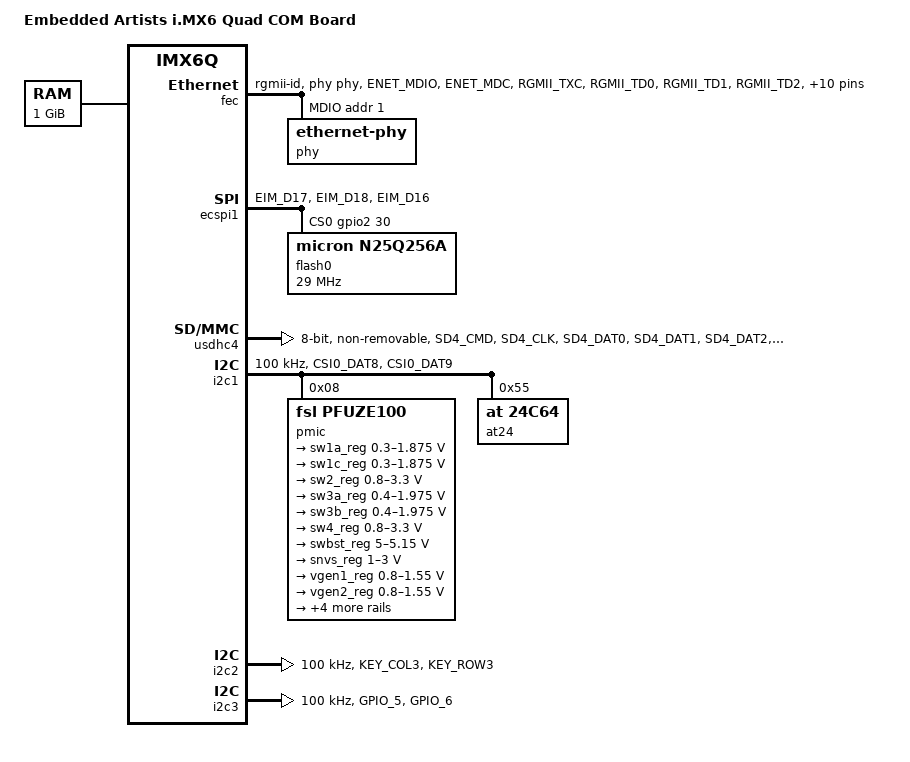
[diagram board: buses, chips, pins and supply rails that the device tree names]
/*
 * Copyright (C) 2014-2015 Freescale Semiconductor, Inc.
 *
 * This program is free software; you can redistribute it and/or modify
 * it under the terms of the GNU General Public License version 2 as
 * published by the Free Software Foundation.
 */


#include <dt-bindings/input/input.h>
#include <dt-bindings/gpio/gpio.h>
#include "imx6q.dtsi"


/ {
	model = "Embedded Artists i.MX6 Quad COM Board";
	compatible = "fsl,imx6qea-com", "fsl,imx6q";


	memory {
		reg = <0x10000000 0x40000000>;
	};


};

&reg_arm {
       vin-supply = <&sw1a_reg>;
};

&reg_pu {
       vin-supply = <&sw1c_reg>;
};

&reg_soc {
       vin-supply = <&sw1c_reg>;
};

&gpc {
	/* use ldo-bypass, u-boot will check it and configure */
	fsl,ldo-bypass = <1>;
	fsl,wdog-reset = <1>;
};


&fec {
	pinctrl-names = "default";
	pinctrl-0 = <&pinctrl_enet>;
	phy-mode = "rgmii-id";
	phy-reset-gpios = <&gpio1 25 GPIO_ACTIVE_HIGH>;
	phy-handle = <&phy>;
	fsl,magic-packet;
	status = "okay";

	mdio {
		#address-cells = <1>;
		#size-cells = <0>;

		phy: ethernet-phy@1 {
			reg = <1>;
			qca,clk-out-frequency = <125000000>;
		};
	};
};

&ecspi1 {
	fsl,spi-num-chipselects = <1>;
	cs-gpios = <&gpio2 30 GPIO_ACTIVE_HIGH>;
	pinctrl-names = "default";
	pinctrl-0 = <&pinctrl_ecspi1>;
	status = "okay";

	flash0: n25q256a@0 {
		#address-cells = <1>;
		#size-cells = <1>;
		compatible = "micron,n25q256a";
		spi-max-frequency = <29000000>;
		spi-nor,ddr-quad-read-dummy = <6>;
		reg = <0>;
	};

};


/* For eMMC socket on EA COM Board */
&usdhc4 {
	pinctrl-names = "default";
	pinctrl-0 = <&pinctrl_usdhc4>;
	bus-width = <8>;
	non-removable;
	no-1-8-v;
	keep-power-in-suspend;
	status = "okay";
};

&i2c1 {
	clock-frequency = <100000>;
	pinctrl-names = "default";
	pinctrl-0 = <&pinctrl_i2c1>;
	status = "okay";

	pmic: pfuze100@8 {
		compatible = "fsl,pfuze100";
		reg = <0x8>;

		regulators {
			sw1a_reg: sw1ab {
				regulator-min-microvolt = <300000>;
				regulator-max-microvolt = <1875000>;
				regulator-boot-on;
				regulator-always-on;
				regulator-ramp-delay = <6250>;
			};

			sw1c_reg: sw1c {
				regulator-min-microvolt = <300000>;
				regulator-max-microvolt = <1875000>;
				regulator-boot-on;
				regulator-always-on;
				regulator-ramp-delay = <6250>;
			};

			sw2_reg: sw2 {
				regulator-min-microvolt = <800000>;
				regulator-max-microvolt = <3300000>;
				regulator-boot-on;
				regulator-always-on;
			};

			sw3a_reg: sw3a {
				regulator-min-microvolt = <400000>;
				regulator-max-microvolt = <1975000>;
				regulator-boot-on;
				regulator-always-on;
			};

			sw3b_reg: sw3b {
				regulator-min-microvolt = <400000>;
				regulator-max-microvolt = <1975000>;
				regulator-boot-on;
				regulator-always-on;
			};

			sw4_reg: sw4 {
				regulator-min-microvolt = <800000>;
				regulator-max-microvolt = <3300000>;
			};

			swbst_reg: swbst {
				regulator-min-microvolt = <5000000>;
				regulator-max-microvolt = <5150000>;
			};

			snvs_reg: vsnvs {
				regulator-min-microvolt = <1000000>;
				regulator-max-microvolt = <3000000>;
				regulator-boot-on;
				regulator-always-on;
			};

			vref_reg: vrefddr {
				regulator-boot-on;
				regulator-always-on;
			};

			vgen1_reg: vgen1 {
				regulator-min-microvolt = <800000>;
				regulator-max-microvolt = <1550000>;
			};

			vgen2_reg: vgen2 {
				regulator-min-microvolt = <800000>;
				regulator-max-microvolt = <1550000>;
			};

			vgen3_reg: vgen3 {
				regulator-min-microvolt = <1800000>;
				regulator-max-microvolt = <3300000>;
			};

			vgen4_reg: vgen4 {
				regulator-min-microvolt = <1800000>;
				regulator-max-microvolt = <3300000>;
				regulator-always-on;
			};

			vgen5_reg: vgen5 {
				regulator-min-microvolt = <1800000>;
				regulator-max-microvolt = <3300000>;
				regulator-always-on;
			};

			vgen6_reg: vgen6 {
				regulator-min-microvolt = <1800000>;
				regulator-max-microvolt = <3300000>;
				regulator-always-on;
			};
		};
	};


	at24@55 {
		compatible = "at,24c64";
		pagesize = <32>;
		reg = <0x55>;
	};
};


&i2c2 {
	clock-frequency = <100000>;
	pinctrl-names = "default";
	pinctrl-0 = <&pinctrl_i2c2>;
	status = "okay";

};

&i2c3 {
	clock-frequency = <100000>;
	pinctrl-names = "default";
	pinctrl-0 = <&pinctrl_i2c3>;
	status = "okay";
};

&iomuxc {
	pinctrl-names = "default";
	pinctrl-0 = <&pinctrl_hog>;

	imx6qea-com {
		pinctrl_hog: hoggrp {
			fsl,pins = <
				MX6QDL_PAD_EIM_D22__GPIO3_IO22  0x80000000
				MX6QDL_PAD_ENET_CRS_DV__GPIO1_IO25 0x80000000
				MX6QDL_PAD_EIM_D23__GPIO3_IO23 0x80000000
				MX6QDL_PAD_GPIO_9__WDOG1_B 	0x80000000
			>;
		};


		pinctrl_ecspi1: ecspi1grp {
			fsl,pins = <
				MX6QDL_PAD_EIM_D17__ECSPI1_MISO	0x100b1
				MX6QDL_PAD_EIM_D18__ECSPI1_MOSI	0x100b1
				MX6QDL_PAD_EIM_D16__ECSPI1_SCLK	0x100b1
			>;
		};

		pinctrl_enet: enetgrp {
			fsl,pins = <
				MX6QDL_PAD_ENET_MDIO__ENET_MDIO		0x1b0b0
				MX6QDL_PAD_ENET_MDC__ENET_MDC		0x1b0b0
				MX6QDL_PAD_RGMII_TXC__RGMII_TXC		0x1b0b0
				MX6QDL_PAD_RGMII_TD0__RGMII_TD0		0x1b0b0
				MX6QDL_PAD_RGMII_TD1__RGMII_TD1		0x1b0b0
				MX6QDL_PAD_RGMII_TD2__RGMII_TD2		0x1b0b0
				MX6QDL_PAD_RGMII_TD3__RGMII_TD3		0x1b0b0
				MX6QDL_PAD_RGMII_TX_CTL__RGMII_TX_CTL	0x1b0b0
				MX6QDL_PAD_ENET_REF_CLK__ENET_TX_CLK	0x1b0b0
				MX6QDL_PAD_RGMII_RXC__RGMII_RXC		0x1b0b0
				MX6QDL_PAD_RGMII_RD0__RGMII_RD0		0x1b0b0
				MX6QDL_PAD_RGMII_RD1__RGMII_RD1		0x1b0b0
				MX6QDL_PAD_RGMII_RD2__RGMII_RD2		0x1b0b0
				MX6QDL_PAD_RGMII_RD3__RGMII_RD3		0x1b0b0
				MX6QDL_PAD_RGMII_RX_CTL__RGMII_RX_CTL	0x1b0b0
				/*MX6QDL_PAD_GPIO_16__ENET_REF_CLK	0x4001b0a8    not connected anyway */
			>;
		};

		pinctrl_enet_irq: enetirqgrp {
			fsl,pins = <
				MX6QDL_PAD_ENET_TXD0__GPIO1_IO30		0x000b1
			>;
		};


		pinctrl_i2c1: i2c1grp {
			fsl,pins = <
				MX6QDL_PAD_CSI0_DAT8__I2C1_SDA		0x4001b8b1
				MX6QDL_PAD_CSI0_DAT9__I2C1_SCL		0x4001b8b1
			>;
		};

		pinctrl_i2c2: i2c2grp {
			fsl,pins = <
				MX6QDL_PAD_KEY_COL3__I2C2_SCL		0x4001b8b1
				MX6QDL_PAD_KEY_ROW3__I2C2_SDA		0x4001b8b1
			 >;
		};

		pinctrl_i2c3: i2c3grp {
			fsl,pins = <
				MX6QDL_PAD_GPIO_5__I2C3_SCL		0x4001b8b1
				MX6QDL_PAD_GPIO_6__I2C3_SDA		0x4001b8b1
			>;
		};


		pinctrl_usdhc4: usdhc4grp {
			fsl,pins = <
				MX6QDL_PAD_SD4_CMD__SD4_CMD		0x17059
				MX6QDL_PAD_SD4_CLK__SD4_CLK		0x10059
				MX6QDL_PAD_SD4_DAT0__SD4_DATA0		0x17059
				MX6QDL_PAD_SD4_DAT1__SD4_DATA1		0x17059
				MX6QDL_PAD_SD4_DAT2__SD4_DATA2		0x17059
				MX6QDL_PAD_SD4_DAT3__SD4_DATA3		0x17059
				MX6QDL_PAD_SD4_DAT4__SD4_DATA4		0x17059
				MX6QDL_PAD_SD4_DAT5__SD4_DATA5		0x17059
				MX6QDL_PAD_SD4_DAT6__SD4_DATA6		0x17059
				MX6QDL_PAD_SD4_DAT7__SD4_DATA7		0x17059
			>;
		};


	};
};





